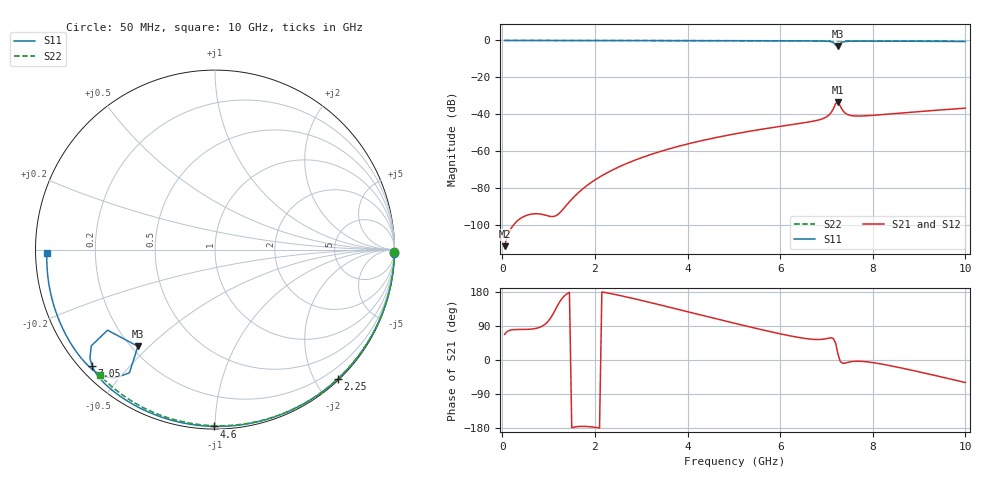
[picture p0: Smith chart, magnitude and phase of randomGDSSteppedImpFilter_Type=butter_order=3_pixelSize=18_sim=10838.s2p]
! freq	dB(S11)	phase(S11)	dB(S12)	phase(S12)
!  dB(S21)	phase(S21)	dB(S22)	phase(S22)
!S-par simulation data
#  GHz  S  DB  R 50
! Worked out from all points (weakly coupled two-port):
!   200 points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, 50 MHz to 10 GHz, reference 50 ohm
!   highest |S21| = -33.32 dB at 7.25 GHz (marker M1); lowest = -111.4 dB at 50 MHz (marker M2)
!   lowest |S11| = -3.2 dB at 7.25 GHz (marker M3), VSWR 5.44, Z = 11.2 - j23.1 ohm
!   |S11| at or under -10 dB: nowhere
!   |S22| runs from -0.4 to 0.0 dB; largest |S21 - S12| = 0
!   S11 on the Smith chart (normalised r, x): 50 MHz: open; 2.25 GHz: 0.02, -2.34; 4.6 GHz: 0.01, -0.99; 7.05 GHz: 0.03, -0.40; 10 GHz: 0.03, -0.01
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0.05  -0.00 -1.1  -111.36 67.7  -111.36 67.7  -0.00 -0.8
0.85  -0.02 -17.9  -94.09 88.6  -94.09 88.6  -0.02 -12.9
1.75  -0.05 -36.3  -80.08 -175.1  -80.08 -175.1  -0.03 -26.4
2.25  -0.06 -46.3  -71.81 177.4  -71.81 177.4  -0.04 -33.8
2.75  -0.07 -56.1  -65.94 164.5  -65.94 164.5  -0.05 -41.0
3.4  -0.09 -68.5  -60.19 145.6  -60.19 145.6  -0.07 -50.3
4.6  -0.13 -90.4  -52.64 109.3  -52.64 109.3  -0.10 -66.8
5.05  -0.15 -98.3  -50.44 95.9  -50.44 95.9  -0.11 -72.7
5.9  -0.20 -113.0  -46.89 71.7  -46.89 71.7  -0.14 -83.7
6.7  -0.27 -127.4  -43.77 54.6  -43.77 54.6  -0.18 -93.7
6.9  -0.33 -131.8  -42.52 54.6  -42.52 54.6  -0.19 -96.2
7.05  -0.51 -136.6  -40.46 57.8  -40.46 57.8  -0.20 -98.0
7.15  -1.17 -142.1  -36.93 56.5  -36.93 56.5  -0.21 -99.2
7.2  -2.52 -143.1  -34.16 43.8  -34.16 43.8  -0.21 -99.8
7.25  -3.23 -128.6  -33.32 14.9  -33.32 14.9  -0.21 -100.4
7.3  -1.56 -124.8  -35.66 -4.3  -35.66 -4.3  -0.21 -101.0
7.35  -0.86 -127.8  -37.87 -8.8  -37.87 -8.8  -0.22 -101.6
7.5  -0.43 -134.1  -40.49 -5.1  -40.49 -5.1  -0.23 -103.4
7.75  -0.36 -140.1  -40.90 -3.4  -40.90 -3.4  -0.24 -106.4
8.35  -0.39 -150.9  -39.84 -14.4  -39.84 -14.4  -0.29 -113.5
9.2  -0.47 -165.2  -38.11 -36.8  -38.11 -36.8  -0.36 -123.3
10  -0.56 -178.8  -36.64 -59.5  -36.64 -59.5  -0.45 -132.4
